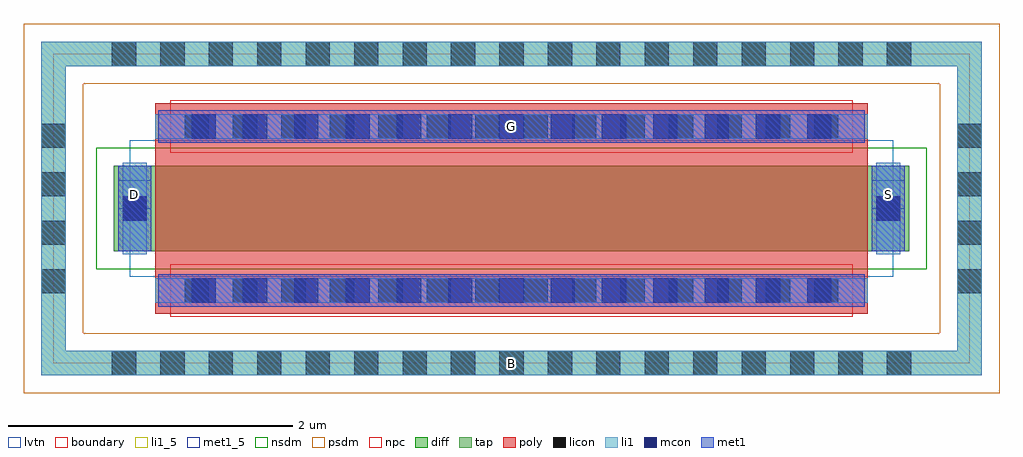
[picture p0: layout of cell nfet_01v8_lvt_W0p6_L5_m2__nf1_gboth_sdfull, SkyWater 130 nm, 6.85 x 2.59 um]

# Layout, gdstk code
import gdstk
lib = gdstk.Library(unit=1e-6, precision=1e-09)
def R(c, l, rs):  # rectangles x0, y0, x1, y1
    for r in rs: c.add(gdstk.rectangle(r[:2], r[2:], *l))
def A(c, l, x, y, w, h, nx, ny, dx, dy):  # array of equal rectangles
    R(c, l, [(x+i*dx, y+j*dy, x+i*dx+w, y+j*dy+h) for i in range(nx) for j in range(ny)])
diff = (65, 20)
tap = (65, 44)
poly = (66, 20)
licon = (66, 44)
li1_5 = (67, 5)
li1 = (67, 20)
mcon = (67, 44)
met1_5 = (68, 5)
met1 = (68, 20)
nsdm = (93, 44)
psdm = (94, 20)
npc = (95, 20)
lvtn = (125, 44)
boundary = (235, 4)

sky130_fd_pr__nfet_01v8_ = lib.new_cell('sky130_fd_pr__nfet_01v8_lvt_4Z4WFJ')
R(sky130_fd_pr__nfet_01v8_, diff, [(-2.79,-0.3,2.79,0.3)])
R(sky130_fd_pr__nfet_01v8_, tap, [(-3.3,-1.17,3.3,-1), (-3.3,-1,-3.13,1), (3.13,-1,3.3,1), (-3.3,1,3.3,1.17)])
R(sky130_fd_pr__nfet_01v8_, poly, [(-2.5,-0.74,2.5,0.74)])
A(sky130_fd_pr__nfet_01v8_, licon, -2.805, -1.17, 0.17, 0.17, 17, 2, 0.34, 2.17)
A(sky130_fd_pr__nfet_01v8_, licon, -2.295, -0.66, 0.17, 0.17, 14, 2, 0.34, 1.15)
A(sky130_fd_pr__nfet_01v8_, licon, -3.3, -0.595, 0.17, 0.17, 1, 4, 0, 0.34)
A(sky130_fd_pr__nfet_01v8_, licon, 3.13, -0.595, 0.17, 0.17, 1, 4, 0, 0.34)
R(sky130_fd_pr__nfet_01v8_, licon, [(-2.73,-0.085,-2.56,0.085), (2.56,-0.085,2.73,0.085)])
R(sky130_fd_pr__nfet_01v8_, li1, [(-3.3,-1.17,3.3,-1), (-3.3,-1,-3.13,1), (3.13,-1,3.3,1), (-2.5,-0.66,2.5,-0.49), (-2.73,-0.32,-2.56,0.32), (2.56,-0.32,2.73,0.32), (-2.5,0.49,2.5,0.66), (-3.3,1,3.3,1.17)])
A(sky130_fd_pr__nfet_01v8_, mcon, -2.245, -0.66, 0.17, 0.17, 13, 2, 0.36, 1.15)
R(sky130_fd_pr__nfet_01v8_, mcon, [(-2.73,-0.085,-2.56,0.085), (2.56,-0.085,2.73,0.085)])
R(sky130_fd_pr__nfet_01v8_, met1, [(-2.48,-0.69,2.48,-0.46), (-2.76,-0.3,-2.53,0.3), (2.53,-0.3,2.76,0.3), (-2.48,0.46,2.48,0.69)])
R(sky130_fd_pr__nfet_01v8_, nsdm, [(-2.915,-0.425,2.915,0.425)])
R(sky130_fd_pr__nfet_01v8_, psdm, [(-3.425,-1.295,3.425,-0.875), (-3.425,-0.875,-3.005,0.875), (3.005,-0.875,3.425,0.875), (-3.425,0.875,3.425,1.295)])
R(sky130_fd_pr__nfet_01v8_, npc, [(-2.395,-0.76,2.395,-0.39), (-2.395,0.39,2.395,0.76)])
R(sky130_fd_pr__nfet_01v8_, lvtn, [(-2.68,-0.48,2.68,0.48)])
R(sky130_fd_pr__nfet_01v8_, boundary, [(-3.215,-1.085,3.215,1.085)])
sky130_fd_pr__nfet_01v8_.add(gdstk.Label('B', (0,-1.085), layer=67, texttype=5))
sky130_fd_pr__nfet_01v8_.add(gdstk.Label('D', (-2.645,0), layer=67, texttype=5))
sky130_fd_pr__nfet_01v8_.add(gdstk.Label('S', (2.645,0), layer=67, texttype=5))
sky130_fd_pr__nfet_01v8_.add(gdstk.Label('G', (0,0.575), layer=67, texttype=5))

nfet_01v8_lvt_w0p6_l5_m2 = lib.new_cell('nfet_01v8_lvt_W0p6_L5_m2__nf1_gboth_sdfull')
R(nfet_01v8_lvt_w0p6_l5_m2, li1_5, [(3.13,-0.085,3.3,0.085)])
R(nfet_01v8_lvt_w0p6_l5_m2, li1, [(3.13,-0.085,3.3,0.085)])
R(nfet_01v8_lvt_w0p6_l5_m2, met1_5, [(0.455,1.085,0.685,1.285), (5.745,1.085,5.975,1.285), (0.735,1.545,5.695,1.775)])
R(nfet_01v8_lvt_w0p6_l5_m2, met1, [(0.455,1.085,0.685,1.285), (5.745,1.085,5.975,1.285), (0.735,1.545,5.695,1.775)])
nfet_01v8_lvt_w0p6_l5_m2.add(gdstk.Reference(sky130_fd_pr__nfet_01v8_, (3.215,1.085)))
nfet_01v8_lvt_w0p6_l5_m2.add(gdstk.Label('D', (0.57,1.185), layer=68, texttype=5))
nfet_01v8_lvt_w0p6_l5_m2.add(gdstk.Label('S', (5.86,1.185), layer=68, texttype=5))
nfet_01v8_lvt_w0p6_l5_m2.add(gdstk.Label('G', (3.215,1.66), layer=68, texttype=5))
nfet_01v8_lvt_w0p6_l5_m2.add(gdstk.Label('B', (3.215,0), layer=67, texttype=5))

lib.write_gds('nfet_01v8_lvt_W0p6_L5_m2__nf1_gboth_sdfull.gds')
